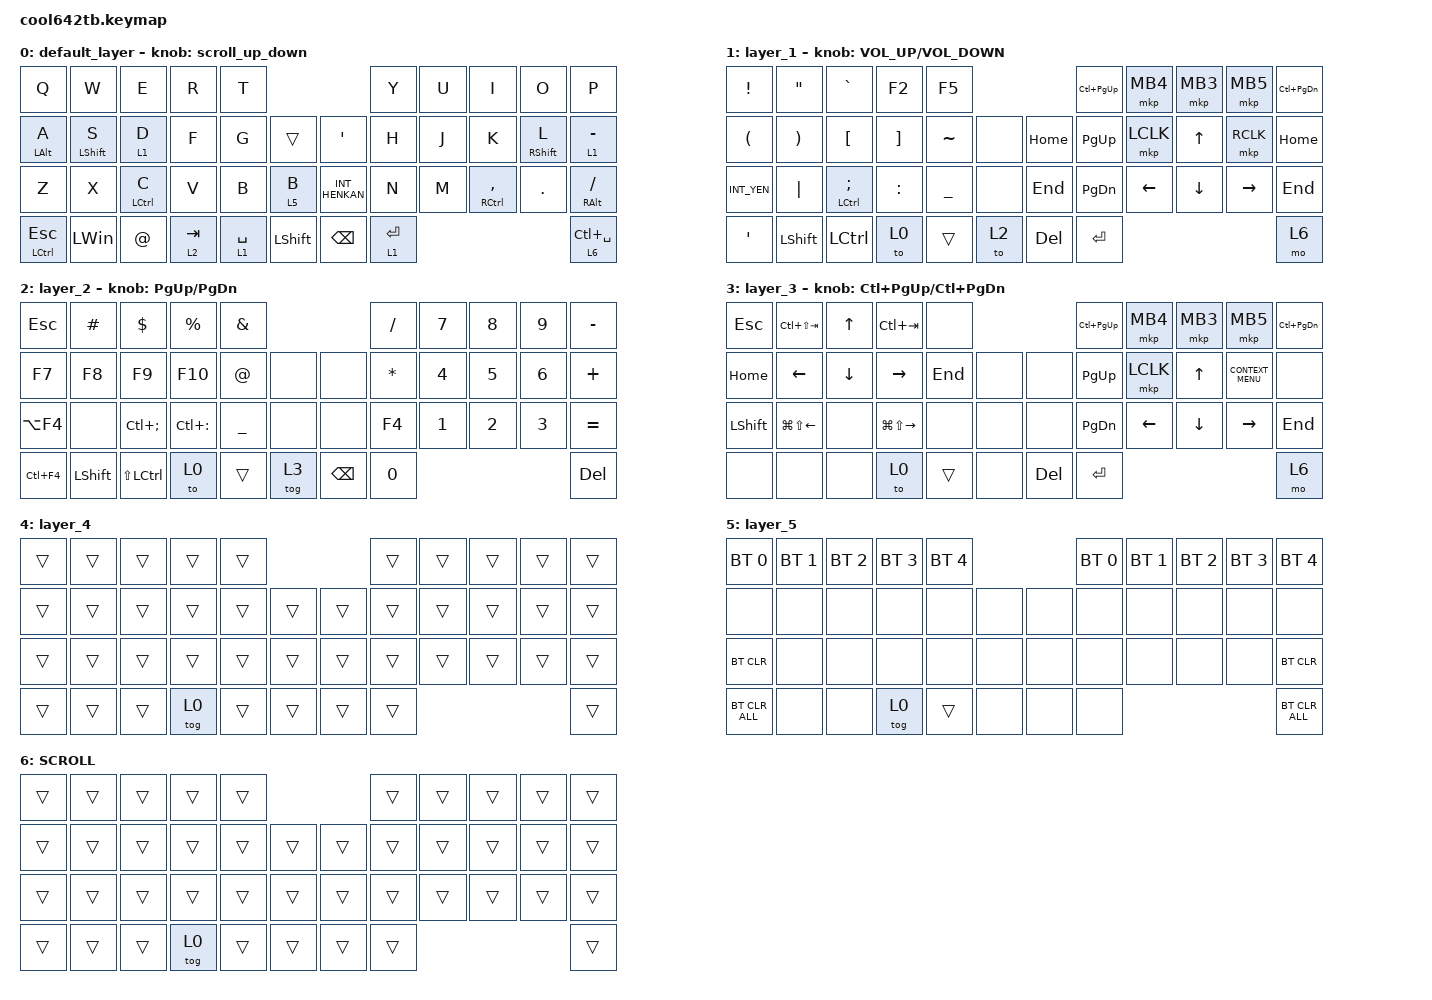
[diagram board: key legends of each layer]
#include <behaviors.dtsi>
#include <dt-bindings/zmk/bt.h>
#include <dt-bindings/zmk/keys.h>
#include <dt-bindings/zmk/pointing.h>

#define ZMK_POINTING_DEFAULT_SCRL_VAL 100
#define SCROLL 6

&mt {
    flavor = "balanced";
    quick-tap-ms = <0>;
};

/ {
    combos {
    };

    macros {
    };

    behaviors {

        // 新しいスクロール動作

        scroll_up_down: behavior_sensor_rotate_mouse_wheel_up_down {
            compatible = "zmk,behavior-sensor-rotate";
            #sensor-binding-cells = <0>;
            bindings = <&msc SCRL_UP>, <&msc SCRL_DOWN>;

            // 追加: スクロールのタップ時間を設定 (20ms)

            tap-ms = <20>;
        };
    };

    keymap {
        compatible = "zmk,keymap";

        default_layer {
            bindings = <
&kp Q             &kp W             &kp E               &kp R      &kp T                                            &kp Y        &kp U  &kp I                    &kp O              &kp P
&mt LEFT_ALT A    &mt LEFT_SHIFT S  &lt 1 D             &kp F      &kp G        &trans            &kp SINGLE_QUOTE  &kp H        &kp J  &kp K                    &mt RIGHT_SHIFT L  &lt 1 MINUS
&kp Z             &kp X             &mt LEFT_CONTROL C  &kp V      &kp B        &lt 5 B           &kp INT_HENKAN    &kp N        &kp M  &mt RIGHT_CONTROL COMMA  &kp DOT            &mt RALT SLASH
&mt LCTRL ESCAPE  &kp LEFT_WIN      &kp AT              &lt 2 TAB  &lt 1 SPACE  &kp LEFT_SHIFT    &kp BACKSPACE     &lt 1 ENTER                                                     &lt 6 LC(SPACE)
            >;

            sensor-bindings = <&scroll_up_down>;
        };

        layer_1 {
            bindings = <
&kp EXCL              &kp DQT                &kp GRAVE                   &kp F2             &kp F5                               &kp LC(PAGE_UP)  &mkp MB4   &mkp MB3        &mkp MB5   &kp LC(PAGE_DOWN)
&kp LEFT_PARENTHESIS  &kp RIGHT_PARENTHESIS  &kp LEFT_BRACKET            &kp RIGHT_BRACKET  &kp TILDE       &none    &kp HOME    &kp PAGE_UP      &mkp LCLK  &kp UP_ARROW    &mkp RCLK  &kp HOME
&kp INT_YEN           &kp PIPE               &mt LEFT_CONTROL SEMICOLON  &kp COLON          &kp UNDERSCORE  &none    &kp END     &kp PAGE_DOWN    &kp LEFT   &kp DOWN_ARROW  &kp RIGHT  &kp END
&kp SINGLE_QUOTE      &kp LEFT_SHIFT         &kp LEFT_CONTROL            &to 0              &trans          &to 2    &kp DELETE  &kp ENTER                                              &mo 6
            >;

            sensor-bindings = <&inc_dec_kp C_VOL_UP C_VOLUME_DOWN>;
        };

        layer_2 {
            bindings = <
&kp ESCAPE  &kp HASH        &kp DOLLAR            &kp PERCENT    &kp AMPERSAND                            &kp SLASH     &kp N7        &kp N8        &kp N9        &kp MINUS
&kp F7      &kp F8          &kp F9                &kp F10        &kp AT          &none     &none          &kp ASTERISK  &kp NUMBER_4  &kp N5        &kp NUMBER_6  &kp PLUS
&kp LA(F4)  &none           &kp LC(SEMICOLON)     &kp LC(COLON)  &kp UNDERSCORE  &none     &none          &kp F4        &kp NUMBER_1  &kp NUMBER_2  &kp NUMBER_3  &kp EQUAL
&kp LC(F4)  &kp LEFT_SHIFT  &kp LS(LEFT_CONTROL)  &to 0          &trans          &tog 3    &kp BACKSPACE  &kp N0                                                  &kp DELETE
            >;

            sensor-bindings = <&inc_dec_kp PAGE_UP PAGE_DOWN>;
        };

        layer_3 {
            bindings = <
&kp ESCAPE      &kp LC(LS(TAB))         &kp UP_ARROW    &kp LC(TAB)              &none                         &kp LC(PAGE_UP)  &mkp MB4   &mkp MB3        &mkp MB5            &kp LC(PAGE_DOWN)
&kp HOME        &kp LEFT_ARROW          &kp DOWN_ARROW  &kp RIGHT_ARROW          &kp END  &none    &none       &kp PAGE_UP      &mkp LCLK  &kp UP_ARROW    &kp K_CONTEXT_MENU  &none
&kp LEFT_SHIFT  &kp LG(LS(LEFT_ARROW))  &none           &kp LG(LS(RIGHT_ARROW))  &none    &none    &none       &kp PAGE_DOWN    &kp LEFT   &kp DOWN_ARROW  &kp RIGHT           &kp END
&none           &none                   &none           &to 0                    &trans   &none    &kp DELETE  &kp ENTER                                                       &mo 6
            >;

            sensor-bindings = <&inc_dec_kp LC(PAGE_UP) LC(PAGE_DOWN)>;
        };

        layer_4 {
            bindings = <
&trans  &trans  &trans  &trans  &trans                    &trans  &trans  &trans  &trans  &trans
&trans  &trans  &trans  &trans  &trans  &trans    &trans  &trans  &trans  &trans  &trans  &trans
&trans  &trans  &trans  &trans  &trans  &trans    &trans  &trans  &trans  &trans  &trans  &trans
&trans  &trans  &trans  &tog 0  &trans  &trans    &trans  &trans                          &trans
            >;
        };

        layer_5 {
            bindings = <
&bt BT_SEL 0    &bt BT_SEL 1  &bt BT_SEL 2  &bt BT_SEL 3  &bt BT_SEL 4                  &bt BT_SEL 0  &bt BT_SEL 1  &bt BT_SEL 2  &bt BT_SEL 3  &bt BT_SEL 4
&none           &none         &none         &none         &none         &none    &none  &none         &none         &none         &none         &none
&bt BT_CLR      &none         &none         &none         &none         &none    &none  &none         &none         &none         &none         &bt BT_CLR
&bt BT_CLR_ALL  &none         &none         &tog 0        &trans        &none    &none  &none                                                   &bt BT_CLR_ALL
            >;
        };

        //        MOUSE {
        //            bindings = <
        //&trans  &trans  &trans  &trans  &trans                         &trans  &trans     &trans     &trans     &trans
        //&trans  &trans  &trans  &trans  &trans  &trans    &trans       &trans  &mkp LCLK  &mkp MCLK  &mkp RCLK  &trans
        //&trans  &trans  &trans  &trans  &trans  &trans    &bootloader  &trans  &trans     &trans     &trans     &trans
        //&trans  &trans  &trans  &trans  &trans  &trans    &trans       &trans                                   &trans
        //            >;
        //
        //            sensor-bindings = <&inc_dec_kp K_SCROLL_UP K_SCROLL_DOWN>;
        //        };

        SCROLL {
            bindings = <
&trans  &trans  &trans  &trans  &trans                    &trans  &trans  &trans  &trans  &trans
&trans  &trans  &trans  &trans  &trans  &trans    &trans  &trans  &trans  &trans  &trans  &trans
&trans  &trans  &trans  &trans  &trans  &trans    &trans  &trans  &trans  &trans  &trans  &trans
&trans  &trans  &trans  &tog 0  &trans  &trans    &trans  &trans                          &trans
            >;
        };
    };
};
